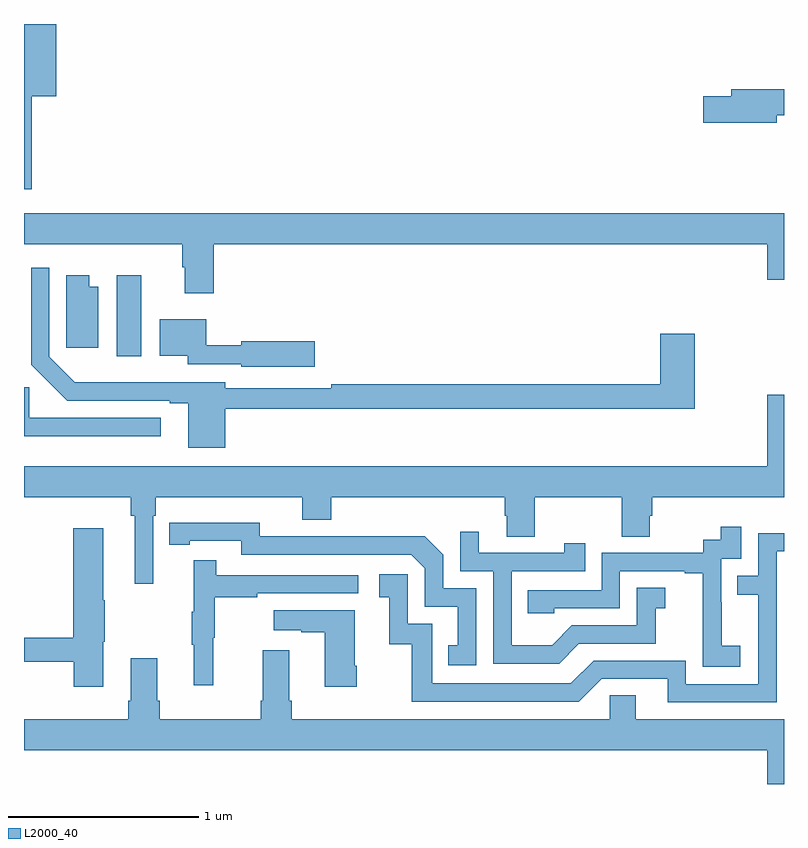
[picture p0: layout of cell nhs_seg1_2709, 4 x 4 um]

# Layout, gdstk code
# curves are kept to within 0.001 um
import gdstk
lib = gdstk.Library(unit=1e-6, precision=1e-09)
def R(c, l, rs):  # rectangles x0, y0, x1, y1
    for r in rs: c.add(gdstk.rectangle(r[:2], r[2:], *l))
def P(c, l, *ps):  # polygons
    for p in ps: c.add(gdstk.Polygon(p, *l))
L2000_40 = (2000, 40)

nhs_seg1_2709 = lib.new_cell('nhs_seg1_2709')
R(nhs_seg1_2709, L2000_40, [(257.489,576.45,257.617,576.877)])
P(nhs_seg1_2709, L2000_40, [(257.041,577.82),(257.17,577.82),(257.17,578.199),(257,578.199),(257,577.329),(257.041,577.329)],
  [(260.962,577.72),(261,577.72),(261,577.856),(260.723,577.856),(260.723,577.82),(260.574,577.82),(260.574,577.678),(260.962,577.678)],
  [(257.999,577.04),(260.912,577.04),(260.912,576.852),(261,576.852),(261,577.204),(257,577.204),(257,577.04),(257.834,577.04),(257.834,576.92),(257.846,576.92),(257.846,576.783),(257.999,576.783)],
  [(258.058,576.174),(260.531,576.174),(260.531,576.568),(260.348,576.568),(260.348,576.302),(258.616,576.302),(258.616,576.282),(258.058,576.282),(258.058,576.313),(257.267,576.313),(257.133,576.447),(257.133,576.916),(257.037,576.916),(257.037,576.405),(257.228,576.216),(257.768,576.216),(257.768,576.204),(257.864,576.204),(257.864,575.969),(258.058,575.969)],
  [(257.392,576.817),(257.344,576.817),(257.344,576.877),(257.222,576.877),(257.222,576.494),(257.392,576.494)],
  [(258.529,576.53),(258.144,576.53),(258.144,576.509),(257.958,576.509),(257.958,576.646),(257.714,576.646),(257.714,576.452),(257.862,576.452),(257.862,576.408),(258.144,576.408),(258.144,576.395),(258.529,576.395)],
  [(257.719,576.126),(257.028,576.126),(257.028,576.286),(257,576.286),(257,576.029),(257.719,576.029)],
  [(257.679,575.612),(257.693,575.612),(257.693,575.708),(258.464,575.708),(258.464,575.591),(258.617,575.591),(258.617,575.708),(259.529,575.708),(259.529,575.61),(259.541,575.61),(259.541,575.5),(259.689,575.5),(259.689,575.708),(260.146,575.708),(260.146,575.5),(260.293,575.5),(260.293,575.61),(260.306,575.61),(260.306,575.708),(261,575.708),(261,576.247),(260.912,576.247),(260.912,575.872),(257,575.872),(257,575.708),(257.563,575.708),(257.563,575.612),(257.582,575.612),(257.582,575.253),(257.679,575.253)],
  [(259.38,575.229),(259.206,575.229),(259.206,575.406),(259.108,575.504),(258.7,575.504),(258.7,575.502),(258.24,575.502),(258.24,575.575),(257.764,575.574),(257.764,575.458),(257.872,575.458),(257.872,575.478),(258.144,575.478),(258.144,575.406),(259.038,575.406),(259.11,575.334),(259.11,575.133),(259.283,575.133),(259.283,574.929),(259.234,574.929),(259.234,574.824),(259.38,574.824)],
  [(260.77,574.927),(260.672,574.927),(260.672,575.156),(260.67,575.156),(260.67,575.385),(260.775,575.385),(260.775,575.554),(260.666,575.554),(260.666,575.484),(260.574,575.484),(260.574,575.415),(260.04,575.415),(260.04,575.22),(259.651,575.22),(259.651,575.097),(259.791,575.097),(259.791,575.124),(260.136,575.124),(260.136,575.319),(260.477,575.319),(260.477,575.307),(260.573,575.307),(260.573,575.023),(260.572,575.023),(260.572,574.817),(260.77,574.817)],
  [(257.416,574.947),(257.424,574.947),(257.424,575.165),(257.416,575.165),(257.416,575.545),(257.258,575.545),(257.258,574.97),(257,574.97),(257,574.842),(257.263,574.842),(257.263,574.71),(257.416,574.71)],
  [(259.921,574.938),(260.325,574.938),(260.325,575.123),(260.374,575.123),(260.374,575.233),(260.226,575.233),(260.226,575.034),(259.884,575.034),(259.78,574.93),(259.566,574.93),(259.566,575.319),(259.955,575.319),(259.955,575.467),(259.844,575.467),(259.844,575.415),(259.393,575.415),(259.393,575.527),(259.296,575.527),(259.296,575.319),(259.47,575.319),(259.47,574.833),(259.816,574.833)],
  [(260.961,575.424),(261,575.424),(261,575.52),(260.865,575.52),(260.865,575.295),(260.755,575.295),(260.755,575.194),(260.865,575.194),(260.865,574.725),(260.484,574.725),(260.484,574.848),(259.998,574.848),(259.878,574.728),(259.149,574.728),(259.149,575.043),(259.02,575.043),(259.02,575.302),(258.87,575.302),(258.87,575.181),(258.923,575.181),(258.923,574.935),(259.041,574.935),(259.041,574.632),(259.92,574.632),(260.04,574.752),(260.387,574.752),(260.387,574.629),(260.961,574.629)],
  [(257.996,574.968),(258.004,574.968),(258.004,575.182),(258.227,575.182),(258.227,575.202),(258.76,575.202),(258.76,575.298),(258.011,575.298),(258.011,575.377),(257.894,575.377),(257.894,575.105),(257.883,575.105),(257.883,574.931),(257.894,574.931),(257.894,574.719),(257.996,574.719)],
  [(258.75,574.822),(258.742,574.822),(258.742,575.113),(258.315,575.113),(258.315,575.009),(258.458,575.009),(258.458,574.999),(258.584,574.999),(258.584,574.71),(258.75,574.71)],
  [(261,574.54),(260.221,574.54),(260.221,574.667),(260.082,574.667),(260.082,574.54),(258.41,574.54),(258.41,574.636),(258.397,574.636),(258.397,574.903),(258.257,574.903),(258.257,574.636),(258.245,574.636),(258.245,574.54),(257.714,574.54),(257.714,574.636),(257.701,574.636),(257.701,574.861),(257.561,574.861),(257.561,574.636),(257.549,574.636),(257.549,574.54),(257,574.54),(257,574.376),(260.912,574.376),(260.912,574.199),(261,574.199)])

lib.write_gds('nhs_seg1_2709.gds')
